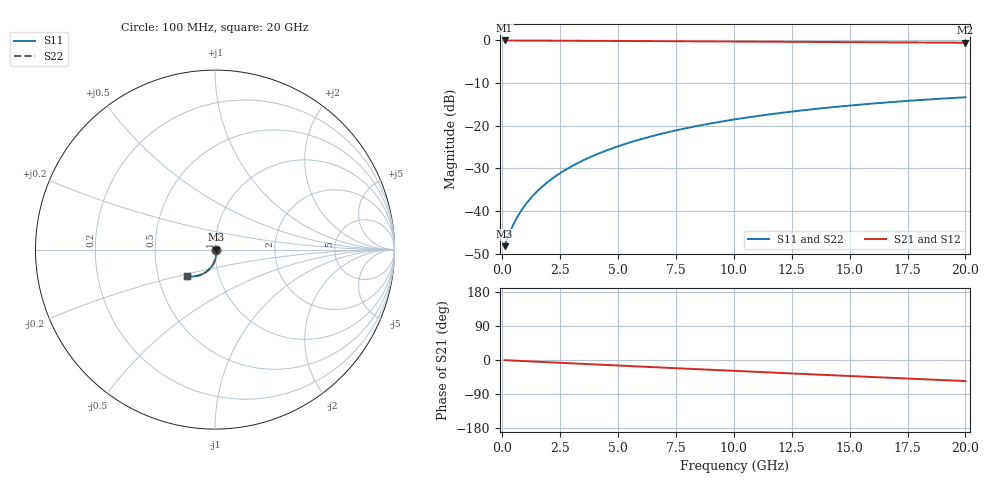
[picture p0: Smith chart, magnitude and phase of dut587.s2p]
! Touchstone file exported from HFSS 2026.1.0
!  File:  C:/ffzhzh/LocalFiles/Ansys_Project_Files/temp_train_TMRDL_587_1783008342_4048.aedt
!  Generated:  12:07:32 AM Jul  3, 2026
!  Design:  TMRDL
!  Project:  temp_train_TMRDL_587_1783008342_4048
! Variables:
!  h_bsmrdl = 2um
!  h_ox = 20um
!  h_rdl = 5um
!  h_sub = 80um
!  h_tmrdl = 4.49um
!  h_tsv = 80um
!  h_via = 3um
!  l_bsmrdl = 300um
!  l_sub = 1378.95um
!  l_tmrdl = 978.95um
!  m_sub = 200um
!  pitch = 24.55um
!  r_tsv = 6um
!  s_tmrdl = 10um
!  w_bsmrdl = 18um
!  w_sub = 500um
!  w_tmrdl = 22.16um
!  x_tsv_center1 = 990.03um
!  x_tsv_center2 = 1308.03um
!  x_tsv_center3 = 2309.14um
!  x_tsv_center4 = 2627.14um
!  x_tsv_center5 = 3628.25um
!  x_tsv_center6 = 3946.25um
# GHz S MA R 50.000000
! Terminal data exported
! Port[1] = TM_RDL1_1_T1
! Port[2] = TM_RDL1_1_T2
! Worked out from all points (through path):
!   200 points, 100 MHz to 20 GHz, reference 50 ohm
!   highest |S21| = -0.03 dB at 100 MHz (marker M1); lowest = -0.6 dB at 20 GHz (marker M2)
!   group delay of S21, straight-line fit = 7.69 ps
!   lowest |S11| = -48.2 dB at 100 MHz (marker M3), VSWR 1.01, Z = 50.4 - j0.00113 ohm
!   |S11| at or under -10 dB: start of sweep to end of sweep
!   |S22| runs from -48.2 to -13.3 dB; largest |S21 - S12| = 5.1e-15
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0.1  0.003878 -0.2  0.9961 -0.4  0.9961 -0.4  0.003878 -0.2
! Gamma 0 0 0 0
! Port Impedance 50 0 50 0
0.3  0.005413 -13.2  0.9947 -1.0  0.9947 -1.0  0.005412 -13.2
0.4  0.006275 -21.6  0.9941 -1.3  0.9941 -1.3  0.006274 -21.6
0.6  0.008051 -35.8  0.9933 -1.9  0.9933 -1.9  0.008051 -35.8
0.7  0.008971 -41.4  0.993 -2.2  0.993 -2.2  0.008971 -41.4
0.9  0.01087 -50.1  0.9926 -2.8  0.9926 -2.8  0.01087 -50.1
1.1  0.01285 -56.6  0.9923 -3.3  0.9923 -3.3  0.01285 -56.6
1.3  0.01488 -61.4  0.9919 -3.9  0.9919 -3.9  0.01488 -61.4
1.7  0.01907 -68.3  0.9913 -5.1  0.9913 -5.1  0.01907 -68.3
2.2  0.02449 -74.0  0.9903 -6.6  0.9903 -6.6  0.02449 -74.0
2.8  0.03122 -78.7  0.989 -8.3  0.989 -8.3  0.03122 -78.7
3.5  0.03933 -82.7  0.9873 -10.3  0.9873 -10.3  0.03932 -82.8
4.2  0.04764 -86.1  0.9855 -12.4  0.9855 -12.4  0.04764 -86.1
5  0.05734 -89.5  0.9833 -14.6  0.9833 -14.6  0.05733 -89.5
5.9  0.06838 -93.0  0.9807 -17.2  0.9807 -17.2  0.06837 -93.1
6.8  0.07947 -96.3  0.978 -19.7  0.978 -19.7  0.07945 -96.4
8.4  0.09901 -101.9  0.9733 -24.2  0.9733 -24.2  0.09899 -102.0
10.1  0.1192 -107.5  0.9682 -28.9  0.9682 -28.9  0.1192 -107.6
11.7  0.1375 -112.6  0.9632 -33.3  0.9632 -33.3  0.1374 -112.7
13.4  0.1558 -117.8  0.9578 -37.9  0.9578 -37.9  0.1558 -118.0
16.7  0.1881 -127.5  0.9471 -46.8  0.9471 -46.8  0.1881 -127.7
20  0.2152 -136.8  0.9364 -55.6  0.9364 -55.6  0.2152 -137.0
